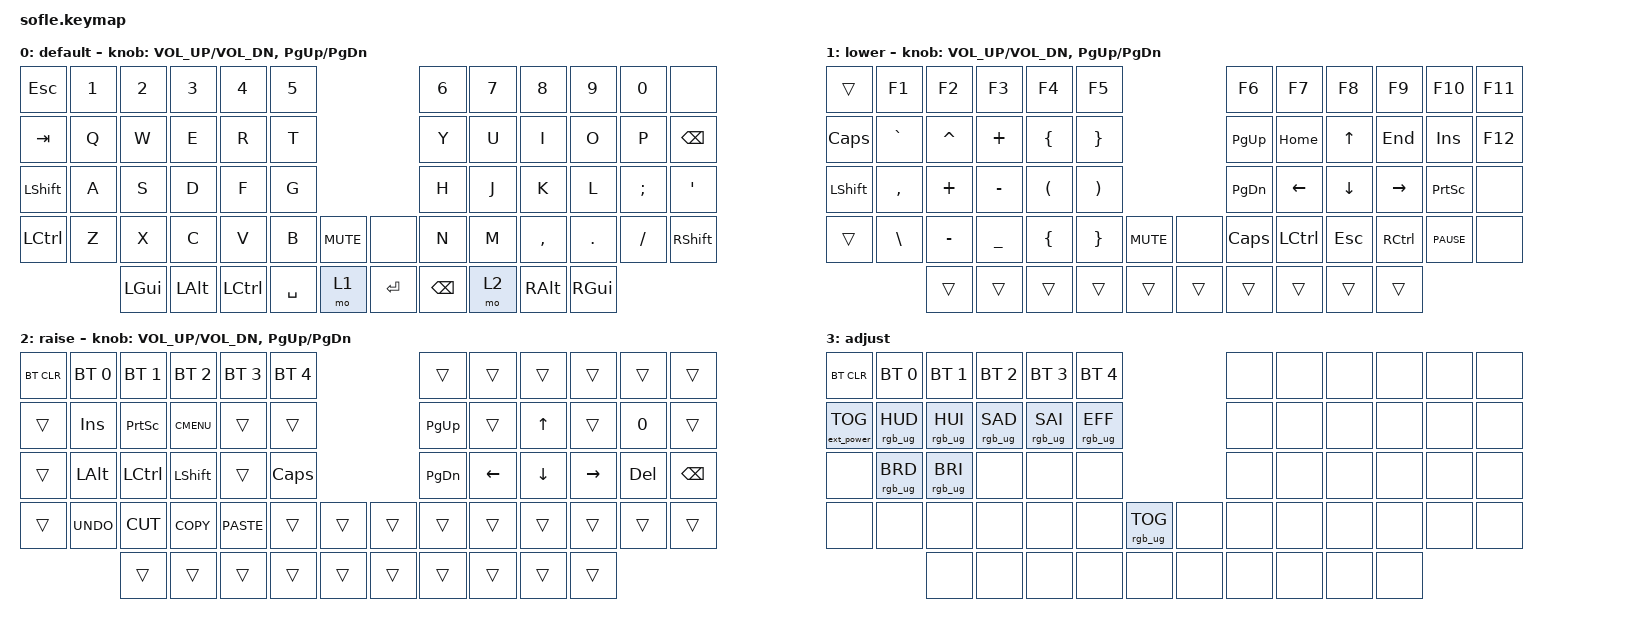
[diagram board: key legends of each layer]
/*
 * Copyright (c) 2020 The ZMK Contributors
 *
 * SPDX-License-Identifier: MIT
 */

#include <behaviors.dtsi>
#include <dt-bindings/zmk/keys.h>
#include <dt-bindings/zmk/bt.h>
#include <dt-bindings/zmk/rgb.h>
#include <dt-bindings/zmk/ext_power.h>

#define BASE 0
#define LOWER 1
#define RAISE 2
#define ADJUST 3

/ {

   // Activate ADJUST layer by pressing raise and lower
    conditional_layers {
        compatible = "zmk,conditional-layers";
        adjust_layer {
            if-layers = <LOWER RAISE>;
            then-layer = <ADJUST>;
        };
    };

    keymap {
        compatible = "zmk,keymap";

        default_layer {
            display-name = "default";
// ------------------------------------------------------------------------------------------------------------
// |   ESC   |  1  |  2  |  3   |  4   |  5   |                   |  6   |  7    |  8    |  9   |   0   |       |
// |  TAB  |  Q  |  W  |  E   |  R   |  T   |                   |  Y   |  U    |  I    |  O   |   P   | BKSPC |
// |  SHIFT  |  A  |  S  |  D   |  F   |  G   |                   |  H   |  J    |  K    |  L   |   ;   |   '   |
// | CTRL |  Z  |  X  |  C   |  V   |  B   |  MUTE  |  |       |  N   |  M    |  ,    |  .   |   /   | SHIFT |
//               | GUI | ALT  | CTRL | SPACE|  LOWER | | ENTER | BKSPC| RAISE  | ALT   | GUI  |
            
            bindings = < 
&kp ESC   &kp N1 &kp N2   &kp N3   &kp N4    &kp N5                      &kp N6    &kp N7    &kp N8    &kp N9   &kp N0   &none
&kp TAB   &kp Q  &kp W    &kp E    &kp R     &kp T                       &kp Y     &kp U     &kp I     &kp O    &kp P    &kp BSPC
&kp LSHFT &kp A  &kp S    &kp D    &kp F     &kp G                       &kp H     &kp J     &kp K     &kp L    &kp SEMI &kp SQT
&kp LCTRL &kp Z  &kp X    &kp C    &kp V     &kp B  &kp C_MUTE &none     &kp N     &kp M     &kp COMMA &kp DOT  &kp FSLH &kp RSHFT
                 &kp LGUI &kp LALT &kp LCTRL &kp SPACE &mo 1     &kp RET &kp BSPC  &mo 2     &kp RALT  &kp RGUI
            >;

            sensor-bindings = <&inc_dec_kp C_VOL_UP C_VOL_DN &inc_dec_kp PG_UP PG_DN>;
        };
// ---------------------------------------------------------------------------------------------------------------------------------
// |  TRNS  |  F1   |  F2   |  F3   |  F4   |  F5   |                    |  F6   |  F7   |  F8   |  F9   |  F10  |  F11  |
// |  CAPS  |   `   |   ^   |   +   |   {   |   }   |                    | PG_UP | HOME  |   UP  |  END  |  INS  |  F12  |
// |  LSHFT |   ,   |   +   |   -   |   (   |   )   |                    | PG_DN | LEFT  |  DOWN | RIGHT | PSCRN |       |
// |  TRNS  |   \   |   -   |   _   |   {   |   }   |  MUTE  |  |        |  CAPS | LCTRL |  ESC  | RCTRL | PAUSE |       |
//                  |  TRNS |  TRNS |  TRNS |  TRNS |  TRNS  |  |  TRNS  |  TRNS |  TRNS |  TRNS |  TRNS |
        lower_layer {
            
            display-name = "lower";

            bindings = <
&trans    &kp F1    &kp F2    &kp F3    &kp F4    &kp F5                    &kp F6    &kp F7    &kp F8    &kp F9    &kp F10   &kp F11
&kp CLCK  &kp GRAVE &kp CARET &kp PLUS  &kp LBRC  &kp RBRC                  &kp PG_UP &kp HOME  &kp UP    &kp END   &kp INS   &kp F12
&kp LSHFT &kp COMMA &kp PLUS  &kp MINUS &kp LPAR  &kp RPAR                  &kp PG_DN &kp LEFT  &kp DOWN  &kp RIGHT &kp PSCRN &none
&trans    &kp BSLH  &kp MINUS &kp UNDER &kp LBRC  &kp RBRC &kp C_MUTE &none &kp CLCK  &kp LCTRL &kp ESC   &kp RCTRL &kp PAUSE &none
                    &trans    &trans    &trans    &trans   &trans     &trans &trans   &trans    &trans    &trans
            >;

            sensor-bindings = <&inc_dec_kp C_VOL_UP C_VOL_DN &inc_dec_kp PG_UP PG_DN>;
        };

        raise_layer {
            display-name = "raise";
// ------------------------------------------------------------------------------------------------------------
// | BTCLR | BT1  | BT2  |  BT3  |  BT4  |  BT5 |                |      |      |       |      |       |       |
// |       | INS  | PSCR | GUI   |       |      |                | PGUP |      |   ^   |      |       |       |
// |       | ALT  | CTRL | SHIFT |       | CAPS |                | PGDN |   <- |   v   |  ->  |  DEL  | BKSPC |
// |       | UNDO | CUT  | COPY  | PASTE |      |      |  |      |      |      |       |      |       |       |
//                |      |       |       |      |      |  |      |      |      |       |      |
            bindings = <
&bt BT_CLR &bt BT_SEL 0 &bt BT_SEL 1 &bt BT_SEL 2 &bt BT_SEL 3 &bt BT_SEL 4                  &trans    &trans    &trans   &trans    &trans  &trans
&trans     &kp INS      &kp PSCRN    &kp K_CMENU  &trans       &trans                        &kp PG_UP &trans    &kp UP   &trans    &kp N0  &trans
&trans     &kp LALT     &kp LCTRL    &kp LSHFT    &trans       &kp CLCK                      &kp PG_DN &kp LEFT  &kp DOWN &kp RIGHT &kp DEL &kp BSPC
&trans     &kp K_UNDO   &kp K_CUT    &kp K_COPY   &kp K_PASTE  &trans        &trans  &trans  &trans    &trans    &trans   &trans    &trans  &trans
                        &trans       &trans       &trans       &trans        &trans  &trans  &trans    &trans    &trans   &trans
            >;

            sensor-bindings = <&inc_dec_kp C_VOL_UP C_VOL_DN &inc_dec_kp PG_UP PG_DN>;
        };

        adjust_layer {
// ----------------------------------------------------------------------------------------------------------------------------
// | BTCLR  |  BT1    |  BT2    |   BT3   |   BT4   |   BT5   |                  |      |      |       |      |       |       |
// | EXTPWR | RGB_HUD | RGB_HUI | RGB_SAD | RGB_SAI | RGB_EFF |                  |      |      |       |      |       |       |
// |        | RGB_BRD | RGB_BRI |         |         |         |                  |      |      |       |      |       |       |
// |        |         |         |         |         |         | RGB_TOG | |      |      |      |       |      |       |       |
//                    |         |         |         |         |         | |      |      |      |       |      |
            display-name = "adjust";
            bindings = <
&bt BT_CLR        &bt BT_SEL 0    &bt BT_SEL 1    &bt BT_SEL 2    &bt BT_SEL 3    &bt BT_SEL 4                            &none &none &none &none &none &none
&ext_power EP_TOG &rgb_ug RGB_HUD &rgb_ug RGB_HUI &rgb_ug RGB_SAD &rgb_ug RGB_SAI &rgb_ug RGB_EFF                         &none &none &none &none &none &none
&none             &rgb_ug RGB_BRD &rgb_ug RGB_BRI &none           &none           &none                                   &none &none &none &none &none &none
&none             &none           &none           &none           &none           &none            &rgb_ug RGB_TOG &none  &none &none &none &none &none &none
                                  &none           &none           &none           &none            &none           &none  &none &none &none &none
            >;
        };

    };
};
